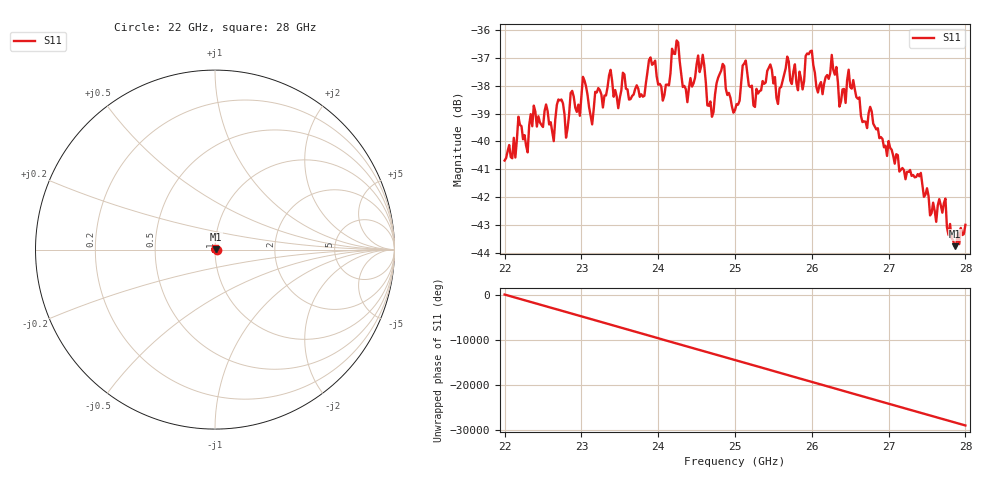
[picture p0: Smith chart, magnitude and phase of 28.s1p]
#  HZ  S  RI  R  50.00
! Rohde & Schwarz ZVA40 4Ports - Version 3.90 - 1145.1110k42 SN: 100403
! Date: 2023-10-04 07:27:36
! Measurement: S12
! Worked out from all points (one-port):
!   301 points, 22 GHz to 28 GHz, reference 50 ohm
!   lowest |S11| = -43.8 dB at 27.86 GHz (marker M1), VSWR 1.01, Z = 50.6 + j0.349 ohm
!   |S11| at or under -10 dB: start of sweep to end of sweep
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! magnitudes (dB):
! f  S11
! 22 GHz  -40.7
! 22.14 GHz  -40.6
! 22.18 GHz  -39.1
! 22.3 GHz  -40.4
! 22.38 GHz  -38.7
! 22.64 GHz  -40.0
! 22.76 GHz  -38.6
! 22.8 GHz  -39.9
! 23.02 GHz  -37.7
! 23.14 GHz  -39.4
! 23.38 GHz  -37.4
! 23.5 GHz  -38.4
! 23.9 GHz  -37.0
! 24.06 GHz  -38.5
! 24.26 GHz  -36.5
! 24.38 GHz  -38.6
! 24.58 GHz  -36.9
! 24.7 GHz  -39.1
! 24.84 GHz  -37.2
! 25 GHz  -38.9
! 25.14 GHz  -37.1
! 25.26 GHz  -38.8
! 25.76 GHz  -37.5
! 26.5 GHz  -38.0
! 27.26 GHz  -41.1
! 27.74 GHz  -42.0
! 27.86 GHz  -43.8
! 28 GHz  -43.0
